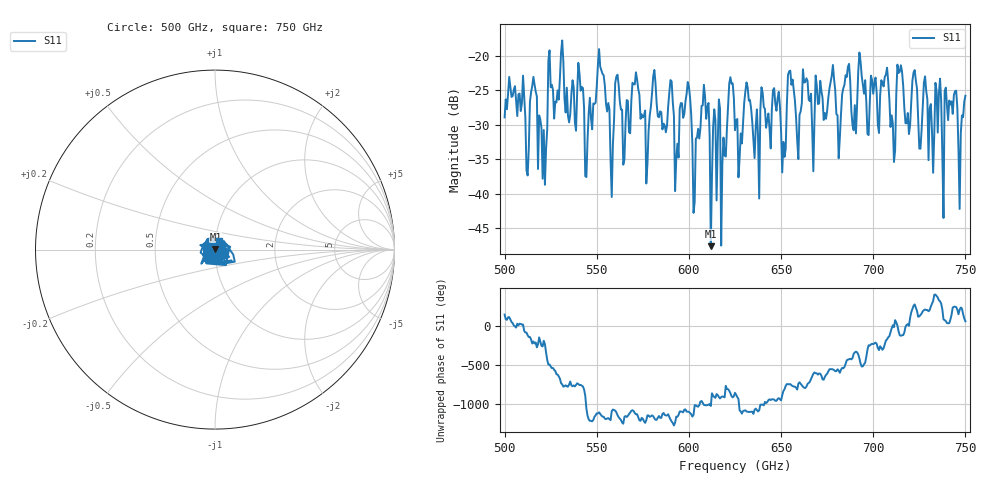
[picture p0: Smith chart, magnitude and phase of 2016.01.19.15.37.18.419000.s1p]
!Created with skrf (http://scikit-rf.org).
# GHz S RI R 50.0
!freq ReS11 ImS11
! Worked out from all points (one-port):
!   401 points, 500 GHz to 750 GHz, reference 50 ohm
!   lowest |S11| = -47.6 dB at 611.9 GHz (marker M1), VSWR 1.01, Z = 50.3 + j0.314 ohm
!   |S11| at or under -10 dB: start of sweep to end of sweep
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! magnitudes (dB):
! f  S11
! 500 GHz  -28.9
! 512.5 GHz  -37.4
! 516.2 GHz  -24.2
! 521.9 GHz  -38.7
! 525 GHz  -24.6
! 531.2 GHz  -17.8
! 541.2 GHz  -25.1
! 544.4 GHz  -37.6
! 551.9 GHz  -21.6
! 558.1 GHz  -40.5
! 562.5 GHz  -26.6
! 577.5 GHz  -35.6
! 590 GHz  -23.5
! 593.8 GHz  -32.7
! 599.4 GHz  -23.8
! 603.1 GHz  -41.2
! 608.1 GHz  -24.2
! 611.9 GHz  -47.6
! 625 GHz  -30.8
! 647.5 GHz  -28.0
! 651.2 GHz  -32.5
! 656.2 GHz  -23.4
! 687.5 GHz  -23.7
! 706.9 GHz  -22.7
! 710.6 GHz  -29.8
! 714.4 GHz  -22.3
! 718.8 GHz  -28.3
! 750 GHz  -25.8
